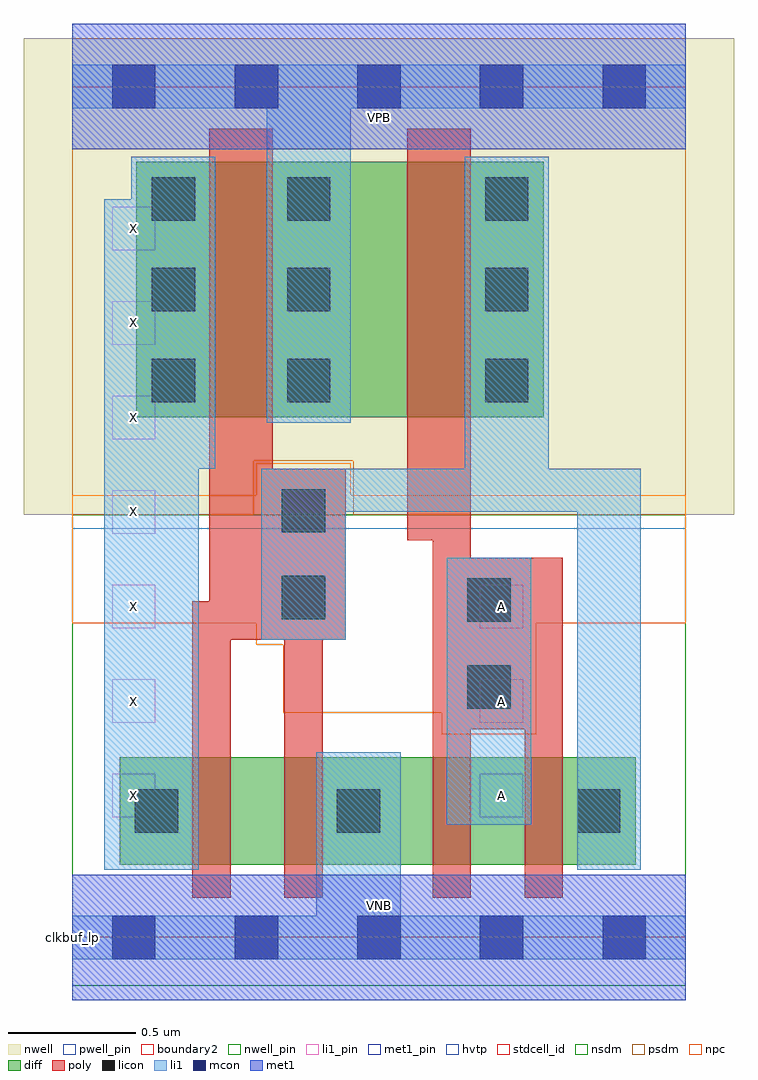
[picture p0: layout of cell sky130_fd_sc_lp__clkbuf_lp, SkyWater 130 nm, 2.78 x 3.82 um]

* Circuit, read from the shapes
.subckt sky130_fd_sc_lp__clkbuf_lp A VGND VNB VPB VPWR X
XM1 n1 n2 X VNB sky130_fd_pr__nfet_01v8 w=0.42 l=0.15
XM2 VGND n2 n1 VNB sky130_fd_pr__nfet_01v8 w=0.42 l=0.15
XM3 n3 A VGND VNB sky130_fd_pr__nfet_01v8 w=0.42 l=0.15
XM4 n2 A n3 VNB sky130_fd_pr__nfet_01v8 w=0.42 l=0.15
XM5 VPWR n2 X VPB sky130_fd_pr__pfet_01v8_hvt w=1 l=0.25
XM6 n2 A VPWR VPB sky130_fd_pr__pfet_01v8_hvt w=1 l=0.25
.ends

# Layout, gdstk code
import gdstk
lib = gdstk.Library(unit=1e-6, precision=1e-09)
def R(c, l, rs):  # rectangles x0, y0, x1, y1
    for r in rs: c.add(gdstk.rectangle(r[:2], r[2:], *l))
def A(c, l, x, y, w, h, nx, ny, dx, dy):  # array of equal rectangles
    R(c, l, [(x+i*dx, y+j*dy, x+i*dx+w, y+j*dy+h) for i in range(nx) for j in range(ny)])
def P(c, l, *ps):  # polygons
    for p in ps: c.add(gdstk.Polygon(p, *l))
nwell_pin = (64, 16)
nwell = (64, 20)
diff = (65, 20)
poly = (66, 20)
licon = (66, 44)
li1_pin = (67, 16)
li1 = (67, 20)
mcon = (67, 44)
met1_pin = (68, 16)
met1 = (68, 20)
hvtp = (78, 44)
stdcell_id = (81, 4)
nsdm = (93, 44)
psdm = (94, 20)
npc = (95, 20)
pwell_pin = (122, 16)
boundary2 = (236, 0)

sky130_fd_sc_lp__clkbuf_ = lib.new_cell('sky130_fd_sc_lp__clkbuf_lp')
R(sky130_fd_sc_lp__clkbuf_, nwell_pin, [(0,3.085,2.4,3.33)])
R(sky130_fd_sc_lp__clkbuf_, nwell, [(-0.19,1.655,2.59,3.52)])
R(sky130_fd_sc_lp__clkbuf_, diff, [(0.185,0.285,2.205,0.705), (0.25,2.035,1.845,3.035)])
P(sky130_fd_sc_lp__clkbuf_, poly, [(1.07,1.835),(0.785,1.835),(0.785,3.165),(0.535,3.165),(0.535,1.315),(0.47,1.315),(0.47,0.155),(0.62,0.155),(0.62,1.165),(0.83,1.165),(0.83,0.155),(0.98,0.155),(0.98,1.165),(1.07,1.165)],
  [(1.92,1.485),(1.56,1.485),(1.56,3.165),(1.31,3.165),(1.31,1.555),(1.41,1.555),(1.41,0.155),(1.56,0.155),(1.56,0.815),(1.77,0.815),(1.77,0.155),(1.92,0.155)])
A(sky130_fd_sc_lp__clkbuf_, licon, 0.31, 2.095, 0.17, 0.17, 1, 3, 0, 0.355)
A(sky130_fd_sc_lp__clkbuf_, licon, 0.84, 2.095, 0.17, 0.17, 1, 3, 0, 0.355)
A(sky130_fd_sc_lp__clkbuf_, licon, 1.615, 2.095, 0.17, 0.17, 1, 3, 0, 0.355)
R(sky130_fd_sc_lp__clkbuf_, licon, [(0.245,0.41,0.415,0.58), (1.035,0.41,1.205,0.58), (1.975,0.41,2.145,0.58), (1.545,0.895,1.715,1.065), (1.545,1.235,1.715,1.405), (0.82,1.245,0.99,1.415), (0.82,1.585,0.99,1.755)])
A(sky130_fd_sc_lp__clkbuf_, li1_pin, 0.155, 0.47, 0.17, 0.17, 1, 7, 0, 0.37)
A(sky130_fd_sc_lp__clkbuf_, li1_pin, 1.595, 0.47, 0.17, 0.17, 1, 3, 0, 0.37)
R(sky130_fd_sc_lp__clkbuf_, li1, [(1.465,0.44,1.795,1.485)])
P(sky130_fd_sc_lp__clkbuf_, li1, [(0.76,2.015),(0.76,3.245),(0,3.245),(0,3.415),(2.4,3.415),(2.4,3.245),(1.09,3.245),(1.09,2.015)],
  [(0.955,0.085),(0.955,0.725),(1.285,0.725),(1.285,0.085),(2.4,0.085),(2.4,-0.085),(0,-0.085),(0,0.085)],
  [(2.225,1.835),(2.225,0.265),(1.975,0.265),(1.975,1.665),(1.07,1.665),(1.07,1.165),(0.74,1.165),(0.74,1.835),(1.535,1.835),(1.535,3.055),(1.865,3.055),(1.865,1.835)],
  [(0.23,2.89),(0.23,3.055),(0.56,3.055),(0.56,1.835),(0.495,1.835),(0.495,0.265),(0.125,0.265),(0.125,2.89)])
A(sky130_fd_sc_lp__clkbuf_, mcon, 0.155, -0.085, 0.17, 0.17, 5, 2, 0.48, 3.33)
R(sky130_fd_sc_lp__clkbuf_, met1_pin, [(0,0,2.4,0.245), (0,3.085,2.4,3.33)])
R(sky130_fd_sc_lp__clkbuf_, met1, [(0,-0.245,2.4,0.245), (0,3.085,2.4,3.575)])
R(sky130_fd_sc_lp__clkbuf_, hvtp, [(0,1.6,2.4,3.33)])
R(sky130_fd_sc_lp__clkbuf_, stdcell_id, [(0,0,2.4,3.33)])
R(sky130_fd_sc_lp__clkbuf_, nsdm, [(0,-0.19,2.4,1.655)])
P(sky130_fd_sc_lp__clkbuf_, psdm, [(2.4,3.52),(0,3.52),(0,1.655),(0.71,1.655),(0.71,1.865),(1.1,1.865),(1.1,1.655),(2.4,1.655)])
P(sky130_fd_sc_lp__clkbuf_, npc, [(2.4,1.73),(1.09,1.73),(1.09,1.855),(0.72,1.855),(0.72,1.73),(0,1.73),(0,1.23),(0.72,1.23),(0.72,1.145),(0.825,1.145),(0.825,0.88),(1.445,0.88),(1.445,0.795),(1.815,0.795),(1.815,1.23),(2.4,1.23)])
R(sky130_fd_sc_lp__clkbuf_, pwell_pin, [(0,0,2.4,0.245)])
R(sky130_fd_sc_lp__clkbuf_, boundary2, [(0,0,2.4,3.33)])
sky130_fd_sc_lp__clkbuf_.add(gdstk.Label('VNB', (1.2,0.123), layer=64, texttype=59))
sky130_fd_sc_lp__clkbuf_.add(gdstk.Label('VPB', (1.2,3.208), layer=64, texttype=5))
sky130_fd_sc_lp__clkbuf_.add(gdstk.Label('clkbuf_lp', (0,0), layer=83, texttype=44))
sky130_fd_sc_lp__clkbuf_.add(gdstk.Label('VPWR', (1.2,3.208), layer=68, texttype=5))
sky130_fd_sc_lp__clkbuf_.add(gdstk.Label('VGND', (1.2,0.123), layer=68, texttype=5))
sky130_fd_sc_lp__clkbuf_.add(gdstk.Label('A', (1.68,0.555), layer=67, texttype=5))
sky130_fd_sc_lp__clkbuf_.add(gdstk.Label('A', (1.68,0.925), layer=67, texttype=5))
sky130_fd_sc_lp__clkbuf_.add(gdstk.Label('A', (1.68,1.295), layer=67, texttype=5))
sky130_fd_sc_lp__clkbuf_.add(gdstk.Label('X', (0.24,0.555), layer=67, texttype=5))
sky130_fd_sc_lp__clkbuf_.add(gdstk.Label('X', (0.24,0.925), layer=67, texttype=5))
sky130_fd_sc_lp__clkbuf_.add(gdstk.Label('X', (0.24,1.295), layer=67, texttype=5))
sky130_fd_sc_lp__clkbuf_.add(gdstk.Label('X', (0.24,1.665), layer=67, texttype=5))
sky130_fd_sc_lp__clkbuf_.add(gdstk.Label('X', (0.24,2.035), layer=67, texttype=5))
sky130_fd_sc_lp__clkbuf_.add(gdstk.Label('X', (0.24,2.405), layer=67, texttype=5))
sky130_fd_sc_lp__clkbuf_.add(gdstk.Label('X', (0.24,2.775), layer=67, texttype=5))

lib.write_gds('sky130_fd_sc_lp__clkbuf_lp.gds')
